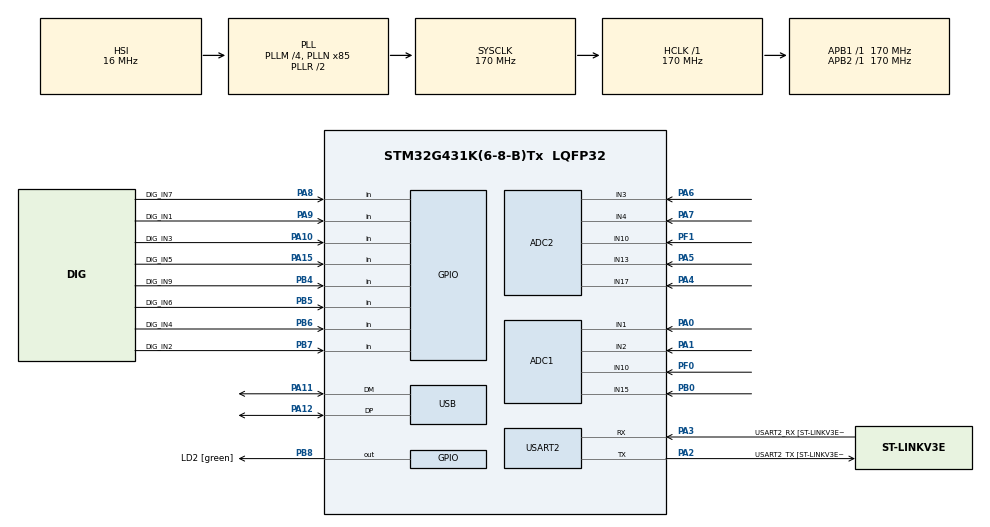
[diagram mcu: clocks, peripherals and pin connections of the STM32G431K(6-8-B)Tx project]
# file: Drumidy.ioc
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ADC1.Channel-0\#ChannelRegularConversion=ADC_CHANNEL_1
ADC1.Channel-1\#ChannelRegularConversion=ADC_CHANNEL_2
ADC1.Channel-2\#ChannelRegularConversion=ADC_CHANNEL_10
ADC1.Channel-3\#ChannelRegularConversion=ADC_CHANNEL_15
ADC1.Channel-4\#ChannelRegularConversion=ADC_CHANNEL_TEMPSENSOR_ADC1
ADC1.ContinuousConvMode=DISABLE
ADC1.DMAAccessModeView=ENABLE
ADC1.DMAContinuousRequests=DISABLE
ADC1.EOCSelection=ADC_EOC_SEQ_CONV
ADC1.Mode=ADC_DUALMODE_REGSIMULT
ADC1.NbrOfConversion=5
ADC1.NbrOfConversionFlag=1
ADC1.OffsetNumber-0\#ChannelRegularConversion=ADC_OFFSET_NONE
ADC1.OffsetNumber-1\#ChannelRegularConversion=ADC_OFFSET_NONE
ADC1.OffsetNumber-2\#ChannelRegularConversion=ADC_OFFSET_NONE
ADC1.OffsetNumber-3\#ChannelRegularConversion=ADC_OFFSET_NONE
ADC1.OffsetNumber-4\#ChannelRegularConversion=ADC_OFFSET_NONE
ADC1.Overrun=ADC_OVR_DATA_OVERWRITTEN
ADC1.Rank-0\#ChannelRegularConversion=1
ADC1.Rank-1\#ChannelRegularConversion=2
ADC1.Rank-2\#ChannelRegularConversion=3
ADC1.Rank-3\#ChannelRegularConversion=4
ADC1.Rank-4\#ChannelRegularConversion=5
ADC1.SamplingTime-0\#ChannelRegularConversion=ADC_SAMPLETIME_6CYCLES_5
ADC1.SamplingTime-1\#ChannelRegularConversion=ADC_SAMPLETIME_6CYCLES_5
ADC1.SamplingTime-2\#ChannelRegularConversion=ADC_SAMPLETIME_6CYCLES_5
ADC1.SamplingTime-3\#ChannelRegularConversion=ADC_SAMPLETIME_6CYCLES_5
ADC1.SamplingTime-4\#ChannelRegularConversion=ADC_SAMPLETIME_6CYCLES_5
ADC1.TwoSamplingDelay=ADC_TWOSAMPLINGDELAY_2CYCLES
ADC1.master=1
ADC2.Channel-0\#ChannelRegularConversion=ADC_CHANNEL_3
ADC2.Channel-1\#ChannelRegularConversion=ADC_CHANNEL_4
ADC2.Channel-2\#ChannelRegularConversion=ADC_CHANNEL_10
ADC2.Channel-3\#ChannelRegularConversion=ADC_CHANNEL_13
ADC2.Channel-4\#ChannelRegularConversion=ADC_CHANNEL_17
ADC2.DMAAccessModeView=ENABLE
ADC2.EOCSelection=ADC_EOC_SEQ_CONV
ADC2.Mode=ADC_DUALMODE_REGSIMULT
ADC2.NbrOfConversion=5
ADC2.NbrOfConversionFlag=1
ADC2.OffsetNumber-0\#ChannelRegularConversion=ADC_OFFSET_NONE
ADC2.OffsetNumber-1\#ChannelRegularConversion=ADC_OFFSET_NONE
ADC2.OffsetNumber-2\#ChannelRegularConversion=ADC_OFFSET_NONE
ADC2.OffsetNumber-3\#ChannelRegularConversion=ADC_OFFSET_NONE
ADC2.OffsetNumber-4\#ChannelRegularConversion=ADC_OFFSET_NONE
ADC2.Overrun=ADC_OVR_DATA_OVERWRITTEN
ADC2.Rank-0\#ChannelRegularConversion=1
ADC2.Rank-1\#ChannelRegularConversion=2
ADC2.Rank-2\#ChannelRegularConversion=3
ADC2.Rank-3\#ChannelRegularConversion=4
ADC2.Rank-4\#ChannelRegularConversion=5
ADC2.SamplingTime-0\#ChannelRegularConversion=ADC_SAMPLETIME_6CYCLES_5
ADC2.SamplingTime-1\#ChannelRegularConversion=ADC_SAMPLETIME_6CYCLES_5
ADC2.SamplingTime-2\#ChannelRegularConversion=ADC_SAMPLETIME_6CYCLES_5
ADC2.SamplingTime-3\#ChannelRegularConversion=ADC_SAMPLETIME_6CYCLES_5
ADC2.SamplingTime-4\#ChannelRegularConversion=ADC_SAMPLETIME_6CYCLES_5
ADC2.TwoSamplingDelay=ADC_TWOSAMPLINGDELAY_2CYCLES
Dma.ADC1.0.Direction=DMA_PERIPH_TO_MEMORY
Dma.ADC1.0.EventEnable=DISABLE
Dma.ADC1.0.Instance=DMA1_Channel1
Dma.ADC1.0.MemDataAlignment=DMA_MDATAALIGN_WORD
Dma.ADC1.0.MemInc=DMA_MINC_ENABLE
Dma.ADC1.0.Mode=DMA_NORMAL
Dma.ADC1.0.PeriphDataAlignment=DMA_PDATAALIGN_WORD
Dma.ADC1.0.PeriphInc=DMA_PINC_DISABLE
Dma.ADC1.0.Polarity=HAL_DMAMUX_REQ_GEN_RISING
Dma.ADC1.0.Priority=DMA_PRIORITY_LOW
Dma.ADC1.0.RequestNumber=1
Dma.ADC1.0.SignalID=NONE
Dma.ADC1.0.SyncEnable=DISABLE
Dma.ADC1.0.SyncPolarity=HAL_DMAMUX_SYNC_NO_EVENT
Dma.ADC1.0.SyncRequestNumber=1
Dma.ADC1.0.SyncSignalID=NONE
Dma.Request0=ADC1
Mcu.Family=STM32G4
Mcu.Name=STM32G431K(6-8-B)Tx
Mcu.Package=LQFP32
NVIC.ADC1_2_IRQn=true\:0\:0\:false\:false\:true\:true\:true
NVIC.DMA1_Channel1_IRQn=true\:0\:0\:false\:false\:true\:false\:true
NVIC.PriorityGroup=NVIC_PRIORITYGROUP_4
NVIC.TIM2_IRQn=true\:0\:0\:false\:false\:true\:true\:true
NVIC.TIM4_IRQn=true\:0\:0\:false\:false\:true\:true\:true
NVIC.USART2_IRQn=true\:0\:0\:false\:false\:true\:true\:true
NVIC.USB_LP_IRQn=true\:0\:0\:false\:false\:true\:false\:true
PA0.Mode=IN1-Single-Ended
PA0.Signal=ADC1_IN1
PA1.Mode=IN2-Single-Ended
PA1.Signal=ADC1_IN2
PA10.GPIO_Label=DIG_IN3
PA10.Signal=GPIO_Input
PA11.Mode=Device
PA11.Signal=USB_DM
PA12.Mode=Device
PA12.Signal=USB_DP
PA13.GPIO_Label=T_SWDIO
PA13.Mode=Serial_Wire
PA13.Signal=SYS_JTMS-SWDIO
PA14.GPIO_Label=T_SWCLK
PA14.Mode=Serial_Wire
PA14.Signal=SYS_JTCK-SWCLK
PA15.GPIO_Label=DIG_IN5
PA15.Signal=GPIO_Input
PA2.GPIO_Label=USART2_TX [ST-LINKV3E_VCP_RX]
PA2.Mode=Asynchronous
PA2.Signal=USART2_TX
PA3.GPIO_Label=USART2_RX [ST-LINKV3E_VCP_TX]
PA3.Mode=Asynchronous
PA3.Signal=USART2_RX
PA4.Mode=IN17-Single-Ended
PA4.Signal=ADC2_IN17
PA5.Mode=IN13-Single-Ended
PA5.Signal=ADC2_IN13
PA6.Mode=IN3-Single-Ended
PA6.Signal=ADC2_IN3
PA7.Mode=IN4-Single-Ended
PA7.Signal=ADC2_IN4
PA8.GPIO_Label=DIG_IN7
PA8.Signal=GPIO_Input
PA9.GPIO_Label=DIG_IN1
PA9.Signal=GPIO_Input
PB0.Mode=IN15-Single-Ended
PB0.Signal=ADC1_IN15
PB3.GPIO_Label=T_SWO
PB3.Signal=SYS_JTDO-SWO
PB4.GPIO_Label=DIG_IN9
PB4.Signal=GPIO_Input
PB5.GPIO_Label=DIG_IN6
PB5.Signal=GPIO_Input
PB6.GPIO_Label=DIG_IN4
PB6.Signal=GPIO_Input
PB7.GPIO_Label=DIG_IN2
PB7.Signal=GPIO_Input
PB8-BOOT0.GPIO_Label=LD2 [green]
PB8-BOOT0.Signal=GPIO_Output
PF0-OSC_IN.Mode=IN10-Single-Ended
PF0-OSC_IN.Signal=ADC1_IN10
PF1-OSC_OUT.Mode=IN10-Single-Ended
PF1-OSC_OUT.Signal=ADC2_IN10
ProjectManager.HeapSize=0x200
ProjectManager.StackSize=0x400
ProjectManager.TargetToolchain=STM32CubeIDE
RCC.ADC12Freq_Value=170000000
RCC.AHBFreq_Value=170000000
RCC.APB1Freq_Value=170000000
RCC.APB1TimFreq_Value=170000000
RCC.APB2Freq_Value=170000000
RCC.APB2TimFreq_Value=170000000
RCC.CK48CLockSelection=RCC_USBCLKSOURCE_HSI48
RCC.CortexFreq_Value=170000000
RCC.EXTERNAL_CLOCK_VALUE=12288000
RCC.HCLKFreq_Value=170000000
RCC.HSE_VALUE=8000000
RCC.HSI48_VALUE=48000000
RCC.HSI_VALUE=16000000
RCC.LSE_VALUE=32768
RCC.PLLM=RCC_PLLM_DIV4
RCC.PLLN=85
RCC.SYSCLKFreq_VALUE=170000000
RCC.SYSCLKSource=RCC_SYSCLKSOURCE_PLLCLK
RCC.USBFreq_Value=48000000
RCC.VCOOutputFreq_Value=340000000
TIM2.AutoReloadPreload=TIM_AUTORELOAD_PRELOAD_ENABLE
TIM2.PeriodNoDither=51000000
TIM4.AutoReloadPreload=TIM_AUTORELOAD_PRELOAD_ENABLE
TIM4.ClockDivision=TIM_CLOCKDIVISION_DIV1
TIM4.PeriodNoDither=17000
TIM6.Prescaler=170
USART2.VirtualMode-Asynchronous=VM_ASYNC
USART2.WordLength=WORDLENGTH_8B
USB_DEVICE.CLASS_NAME_FS=CDC
USB_DEVICE.CONFIGURATION_STRING_CDC_FS=Midi Config
USB_DEVICE.INTERFACE_STRING_CDC_FS=Midi Interface
USB_DEVICE.PRODUCT_STRING_CDC_FS=Drumidy v1
USB_DEVICE.VirtualMode=Cdc
USB_DEVICE.VirtualModeFS=Cdc_FS
VP_ADC1_TempSens_Input.Mode=IN-TempSens
VP_SYS_VS_DBSignals.Mode=DisableDeadBatterySignals
VP_TIM2_VS_ClockSourceINT.Mode=Internal
VP_TIM4_VS_ClockSourceINT.Mode=Internal
VP_TIM6_VS_ClockSourceINT.Mode=Enable_Timer
VP_USB_DEVICE_VS_USB_DEVICE_CDC_FS.Mode=CDC_FS
board=NUCLEO-G431KB

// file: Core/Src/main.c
/* USER CODE BEGIN Header */
/**
  ******************************************************************************
  * @file           : main.c
  * @brief          : Main program body
  ******************************************************************************
  * @attention
  *
  * <h2><center>&copy; Copyright (c) 2020 STMicroelectronics.
  * All rights reserved.</center></h2>
  *
  * This software component is licensed by ST under BSD 3-Clause license,
  * the "License"; You may not use this file except in compliance with the
  * License. You may obtain a copy of the License at:
  *                        opensource.org/licenses/BSD-3-Clause
  *
  ******************************************************************************
  */
/* USER CODE END Header */
#include "main.h"
#include "usb_device.h"

/* USER CODE BEGIN Includes */

#include <string.h>
#include <stdio.h>
#include <usbd_cdc.h>
//#include "midi.h"
#include "drumidy.h"

/* USER CODE END Includes */

/* USER CODE BEGIN PTD */
#define OFF_DELAY_MS 200
#define TAB 0x09
#define FLASH_USER_START_ADDR 	0x0801F800 		//0x0801 F800

#define USE_COM 	1
const volatile uint32_t *userConfig=(const volatile uint32_t *)FLASH_USER_START_ADDR;

uint8_t ASCIILOGO[] = "\n"\
"  ___                 _    _\n"\
" |   \\ _ _ _  _ _ __ (_)__| |_  _ \n"\
" | |) | '_| || | '  \\| / _` | || |\n"\
" |___/|_|  \\_,_|_|_|_|_\\__,_|\\_, |\n"\
"     .-.,     ,--. ,--.      |__/ \n"\
"    `/|~\\     \\__/T`--'     . \n"\
"    x |`' __   ,-~^~-.___ ==I== \n"\
"      |  |--| /       \\__}  | \n"\
"      |  |  |{   /~\\   }    | \n"\
"     /|\\ \\__/ \\  \\_/  /|   /|\\ \n"\
"    / | \\|  | /`~-_-~'X.\\ //| \\ \n\n"\
"= Send any char for configuration =\n";

/* USER CODE END PTD */

/* USER CODE BEGIN PD */
DRUM channel[9];	// array of drums

int cnt;

// ADC buffers0
uint32_t adc_buf[5];
// channel values
uint16_t adc_val[10];

GPIO_PinState aux_current_state[10];

uint32_t saved_config[64];

char buffer_out[1000];			// USB Buffers
uint8_t buffer_in[64];
//char buffer_ret[16];

// MIDI operation
uint8_t upd_active_sens = 0;	//flag for active sense, triggered every 300ms
uint8_t config_Mode[1] = {0};		// flag for activating config over serial
uint32_t custom_timer = 0;

/* USER CODE END PD */

ADC_HandleTypeDef hadc1;
ADC_HandleTypeDef hadc2;
DMA_HandleTypeDef hdma_adc1;

TIM_HandleTypeDef htim2;
TIM_HandleTypeDef htim4;
TIM_HandleTypeDef htim6;

UART_HandleTypeDef huart2;

void SystemClock_Config(void);
static void MX_GPIO_Init(void);
static void MX_DMA_Init(void);
static void MX_USART2_UART_Init(void);
static void MX_ADC1_Init(void);
static void MX_TIM4_Init(void);
static void MX_TIM2_Init(void);
static void MX_ADC2_Init(void);
static void MX_TIM6_Init(void);
/* USER CODE BEGIN PFP */
uint8_t CDC_Transmit_FS(uint8_t* Buf, uint16_t Len);
uint8_t CDC_Receive_FS(uint8_t* Buf, uint16_t Len);

//static void tx_com( uint8_t *_buffer, uint16_t len );

void getAuxState(GPIO_PinState *_state);

void sendMidiAS  ();
//void sendMidiGEN (uint8_t note, uint8_t vel);
void sendMidi    (uint8_t note, uint8_t vel);
void sendMidiGEN (uint8_t note, uint8_t vel);
void sendMidiAT  (uint8_t note, uint8_t vel);
void sendMidiOFF (uint8_t note);
void sendMidi2   (uint8_t note1, uint8_t vel1,uint8_t note2, uint8_t vel2);

void sendMidiHHPedalOn();
void sendMidiHHPedalOff();

void tx_midi  (uint8_t *_buffer, uint16_t len);
void sendDebug (uint8_t _ch, uint8_t _aux);
uint8_t Save_Setting(uint8_t _rst);
uint8_t Load_Setting();
int get_num_from_uart(uint8_t _len);
uint8_t UART_CFG();
//static void tx_usb( uint8_t *_buffer, uint16_t len );

//static void tx_midi( uint8_t _note, uint8_t _velocity, uint8_t _volume);

uint32_t dataReceivedSize = 0;
volatile char flag_New_Settings;
/* USER CODE END PFP */

/* USER CODE BEGIN 0 */

void New_USB_Settings(uint8_t* _buf, uint16_t _len){

	for(int i = 0; i < 64; i++)
		if (i < _len)
			buffer_in[i] = _buf[i];
		else
			buffer_in[i] = 0;

	flag_New_Settings = 1;
	dataReceivedSize = _len;
}

void HAL_TIM_PeriodElapsedCallback(TIM_HandleTypeDef *htim)
{

	// 10kHz trigger, 0.1ms
	if (htim->Instance==htim4.Instance)
      {
		HAL_ADCEx_MultiModeStart_DMA(&hadc1,  (uint32_t *) adc_buf, 5);//
		cnt++;
      }

	// 3.33Hz active sensing, 300ms
	if (htim->Instance==htim2.Instance)
      {
		upd_active_sens = 1;
      }
}

void HAL_UART_RxCpltCallback(UART_HandleTypeDef *huart){
	if (huart->Instance == huart2.Instance){
		buffer_in[15] = 1;
//		config_Mode = 1;
//		HAL_UART_Receive_IT (&huart2, &config_Mode, 1);
	}

}

void HAL_ADC_ConvCpltCallback(ADC_HandleTypeDef* hadc)
{
	if (hadc->Instance==hadc1.Instance)	{
//		uint8_t ch;
		//get all adc values from common array
//		for (ch = 0; ch < 5;ch++) {
//			adc_val[ch] = adc_buf[ch] >> 16;     // store the values in adc_val from buffer
//			adc_val[ch+5 ] = adc_buf[ch] & 0xFFFF;  // store the values in adc_val from buffer
//		}

		// resulting order: 5x[ADC2] + 4x{ADC1} + 1xDummy
		// [PA6] - [PA7] - [PF1] - [PA5] - [PA4] - {PA0} - {PA1} - {PF0} - {PB0} - {XX X}
		//	2		0		4		5		6		9		7		3		1
		adc_val[0] = adc_buf[1] >> 16;
		adc_val[1] = adc_buf[3] & 0xFFFF;
		adc_val[2] = adc_buf[0] >> 16;
		adc_val[3] = adc_buf[2] & 0xFFFF;
		adc_val[4] = adc_buf[2] >> 16;
		adc_val[5] = adc_buf[3] >> 16;
		adc_val[6] = adc_buf[4] >> 16;
		adc_val[7] = adc_buf[1] & 0xFFFF;
		adc_val[8] = adc_buf[0] & 0xFFFF;

		getAuxState(aux_current_state);

		STEP_TIME = HAL_GetTick();

		Update_channel(&channel[0], adc_val[0], aux_current_state[0]);
		Update_channel(&channel[1], adc_val[1], aux_current_state[1]);
		Update_channel(&channel[2], adc_val[2], aux_current_state[2]);
		Update_channel(&channel[3], adc_val[3], aux_current_state[3]);
		Update_channel(&channel[4], adc_val[4], aux_current_state[4]);
		Update_channel(&channel[5], adc_val[5], aux_current_state[5]);
		Update_channel(&channel[6], adc_val[6], aux_current_state[6]);
		Update_channel(&channel[7], adc_val[7], aux_current_state[7]);
		Update_channel(&channel[8], adc_val[8], aux_current_state[8]);

	}// end adc1
}

/* USER CODE END 0 */

int main(void)
{
  /* USER CODE BEGIN 1 */
	int vol;
  /* USER CODE END 1 */

  /* MCU Configuration--------------------------------------------------------*/

  /* Reset of all peripherals, Initializes the Flash interface and the Systick. */
  HAL_Init();

  /* USER CODE BEGIN Init */
  HAL_Delay(1000);

  /* USER CODE END Init */

  /* Configure the system clock */
  SystemClock_Config();

  /* Initialize all configured peripherals */
  MX_GPIO_Init();
  MX_DMA_Init();
  MX_USART2_UART_Init();
  MX_ADC1_Init();
  MX_TIM4_Init();
  MX_TIM2_Init();
  MX_ADC2_Init();
  MX_USB_Device_Init();
  MX_TIM6_Init();
  /* USER CODE BEGIN 2 */

  HAL_ADC_Start (&hadc1);
  HAL_ADC_Start (&hadc2);
  HAL_Delay(200);

  /// **************************
  /// ******* Defaul CFG *******
  /// **************************
  getAuxState(aux_current_state);

  initDrum(&channel[0], HHOPEN, HHPEDAL	, CYMBAL_HIHAT	, aux_current_state[0]);
  	  channel[0].alt_voice = HHCLOSE;

  // KICK - MESH+PEDAL - OK
  initDrum(&channel[1], KICK  , KICK	, MESH_PAD_AUTOAUX		, aux_current_state[1]);
  	  channel[1].peak_volume_norm = 20;
  	  channel[1].peak_min_length = 3;

  // KICK - MESH/ALT+PEDAL - OK
  initDrum(&channel[2], SNARE , KICK 	, MESH_RIM_AUTOAUX		, aux_current_state[2]);
	  channel[2].alt_voice = SNRIM;

  initDrum(&channel[3], SNARE , KICK 	, MESH_RIM_AUTOAUX		, aux_current_state[3]);
	  channel[3].alt_voice = 0x40;

  initDrum(&channel[4], TOM1 , TOM1  	, MESH_PAD_AUTOAUX		, aux_current_state[3]);
  initDrum(&channel[5], TOM2 , TOM2  	, MESH_PAD_AUTOAUX		, aux_current_state[4]);
  initDrum(&channel[6], TOMF , TOMF  	, MESH_PAD_AUTOAUX		, aux_current_state[6]);

  // cymbals
  initDrum(&channel[7], CRASH, CRASH 	, CYMBAL_MUTE			, aux_current_state[7]);	// CH7 aux disabled
  initDrum(&channel[8], RIDE ,  BELL 	, CYMBAL_2_ZONE			, aux_current_state[8]);

  // === Previous Settings ===
  HAL_UART_Transmit(&huart2, ASCIILOGO, strlen((char *)ASCIILOGO) , 50);
  HAL_Delay(500);

  Load_Setting();

	// start waiting for serial commands
	HAL_Delay(200);
	config_Mode[0] = 0;
	HAL_UART_Receive_IT (&huart2, &config_Mode[0], 1);

	/// **************************
	/// ******* LETS ROCK! *******
	/// **************************
	HAL_TIM_Base_Start_IT(&htim2); //AS
	HAL_TIM_Base_Start_IT(&htim4); //ADC
//	HAL_TIM_Base_Start_IT(&htim6);

  /* USER CODE END 2 */

  /* Infinite loop */
  /* USER CODE BEGIN WHILE */

  while (1)
  {
	  while (config_Mode[0]){

		uint8_t rs = UART_CFG();

		if ((rs == 1) || (rs == 2)){
			rs = Save_Setting(0);
			sprintf(buffer_out, "New configuration saved (%X)\n", rs);
			HAL_UART_Transmit(&huart2,(uint8_t *)buffer_out, strlen((char const*)buffer_out) , 50);
		}
		if (rs == 99){
			rs = Save_Setting(1);
			sprintf(buffer_out, "Reset to default values, restart the device (%X)\n", rs);
			HAL_UART_Transmit(&huart2,(uint8_t *)buffer_out, strlen((char const*)buffer_out) , 50);
		}
		config_Mode[0] = 0;
		HAL_UART_Receive_IT (&huart2, &config_Mode[0], 1);

	  }

	  if (upd_active_sens){
		  upd_active_sens = 0;
		  sendMidiAS();
	  }

	  for (uint8_t ch = 0; ch<9; ch++){

		  if (channel[ch].main_rdy){
			  channel[ch].main_rdy = 0;

			  // custom volume calculation for mesh
			  if (channel[ch].chnl_type < 2){
				  vol = (int)(100.* (float)(channel[ch].main_rdy_height - PEAK_THRESHOLD) / 4096. * 100. / (float)channel[ch].peak_volume_norm);
				  if ((channel[ch].chnl_type == MESH_RIM_AUTOAUX)&&(channel[ch].main_rdy_usealt))
					  vol = vol*4;
			  } else {
				  //volume for cymbals
				  vol = (int)(100.* (float)(channel[ch].main_rdy_height - PEAK_THRESHOLD) / 4096. * 100. / (float)channel[ch].peak_volume_norm * 2);
			  }

			  if (vol > 127) vol = 127;
			  if (vol < 1  ) vol = 1;
			  channel[ch].main_rdy_volume = (uint8_t) vol;

			  uint8_t vc;
			  if (channel[ch].main_rdy_usealt)
				  vc = channel[ch].alt_voice;	//				  sendMidiGEN(channel[ch].alt_voice ,channel[ch].main_rdy_volume);
			  else
				  vc = channel[ch].main_voice;	//				  sendMidiGEN(channel[ch].main_voice,channel[ch].main_rdy_volume);

			  sendMidi(vc,channel[ch].main_rdy_volume);
			  channel[ch].main_last_on_voice 	= vc;
			  channel[ch].main_last_on_time 	= HAL_GetTick();

  			  sendDebug(ch,0);

		  }

		  if (channel[ch].aux_rdy){
			  channel[ch].aux_rdy = 0;
			  sendDebug(ch,1);

			  switch (channel[ch].chnl_type ){
			  case CYMBAL_HIHAT:
				  if (channel[ch].aux_rdy_state == CHANNEL_PEDAL_PRESSED)
					 sendMidiHHPedalOn();
//				  else
//					  sendMidiGEN(channel[ch].main_voice, 5);
				  break;

			  case CYMBAL_MUTE:
				  if (channel[ch].aux_rdy_state == CHANNEL_PEDAL_PRESSED)
					  sendMidi2(channel[ch].main_voice, 1, channel[ch].main_voice, 0);
				  break;

			  case CYMBAL_2_ZONE:
				  sendMidi2(channel[ch].main_voice, 1, channel[ch].main_voice, 0);
				  break;

			  // INDEPENDENT AUX INPUTS
			  default:
				  if (channel[ch].aux_type == AUX_TYPE_PAD)
					  sendMidi2(channel[ch].aux_voice,100, channel[ch].aux_voice,0);
				  else { //PEDAL
					  // PEDAL pressed
					  if (channel[ch].aux_rdy_state == CHANNEL_PEDAL_PRESSED)
						  sendMidi2(channel[ch].aux_voice,100, channel[ch].aux_voice,0);
					  // PEDAL RELEASED... IN CASE
//					  else
//						  sendMidi2(channel[ch].aux_voice, 1, channel[ch].aux_voice,0);
				  }
			  }

		  }
		  // send off command if needed
		  if (channel[ch].main_last_on_voice > 0){
			  if ( HAL_GetTick() > (channel[ch].main_last_on_time + OFF_DELAY_MS) ){
				  sendMidi(channel[ch].main_last_on_voice,0);
				  channel[ch].main_last_on_voice = 0;
			  }

		  }

	  }
    /* USER CODE END WHILE */

  }
}

void SystemClock_Config(void)
{
  RCC_OscInitTypeDef RCC_OscInitStruct = {0};
  RCC_ClkInitTypeDef RCC_ClkInitStruct = {0};

  /** Configure the main internal regulator output voltage
  */
  HAL_PWREx_ControlVoltageScaling(PWR_REGULATOR_VOLTAGE_SCALE1_BOOST);
  /** Initializes the RCC Oscillators according to the specified parameters
  * in the RCC_OscInitTypeDef structure.
  */
  RCC_OscInitStruct.OscillatorType = RCC_OSCILLATORTYPE_HSI|RCC_OSCILLATORTYPE_HSI48;
  RCC_OscInitStruct.HSIState = RCC_HSI_ON;
  RCC_OscInitStruct.HSICalibrationValue = RCC_HSICALIBRATION_DEFAULT;
  RCC_OscInitStruct.HSI48State = RCC_HSI48_ON;
  RCC_OscInitStruct.PLL.PLLState = RCC_PLL_ON;
  RCC_OscInitStruct.PLL.PLLSource = RCC_PLLSOURCE_HSI;
  RCC_OscInitStruct.PLL.PLLM = RCC_PLLM_DIV4;
  RCC_OscInitStruct.PLL.PLLN = 85;
  RCC_OscInitStruct.PLL.PLLP = RCC_PLLP_DIV2;
  RCC_OscInitStruct.PLL.PLLQ = RCC_PLLQ_DIV2;
  RCC_OscInitStruct.PLL.PLLR = RCC_PLLR_DIV2;
  if (HAL_RCC_OscConfig(&RCC_OscInitStruct) != HAL_OK)
  {
    Error_Handler();
  }
  /** Initializes the CPU, AHB and APB buses clocks
  */
  RCC_ClkInitStruct.ClockType = RCC_CLOCKTYPE_HCLK|RCC_CLOCKTYPE_SYSCLK
                              |RCC_CLOCKTYPE_PCLK1|RCC_CLOCKTYPE_PCLK2;
  RCC_ClkInitStruct.SYSCLKSource = RCC_SYSCLKSOURCE_PLLCLK;
  RCC_ClkInitStruct.AHBCLKDivider = RCC_SYSCLK_DIV1;
  RCC_ClkInitStruct.APB1CLKDivider = RCC_HCLK_DIV1;
  RCC_ClkInitStruct.APB2CLKDivider = RCC_HCLK_DIV1;

  if (HAL_RCC_ClockConfig(&RCC_ClkInitStruct, FLASH_LATENCY_4) != HAL_OK)
  {
    Error_Handler();
  }
}

static void MX_ADC1_Init(void)
{

  ADC_MultiModeTypeDef multimode = {0};
  ADC_ChannelConfTypeDef sConfig = {0};

  /** Common config
  */
  hadc1.Instance = ADC1;
  hadc1.Init.ClockPrescaler = ADC_CLOCK_SYNC_PCLK_DIV4;
  hadc1.Init.Resolution = ADC_RESOLUTION_12B;
  hadc1.Init.DataAlign = ADC_DATAALIGN_RIGHT;
  hadc1.Init.GainCompensation = 0;
  hadc1.Init.ScanConvMode = ADC_SCAN_ENABLE;
  hadc1.Init.EOCSelection = ADC_EOC_SEQ_CONV;
  hadc1.Init.LowPowerAutoWait = DISABLE;
  hadc1.Init.ContinuousConvMode = DISABLE;
  hadc1.Init.NbrOfConversion = 5;
  hadc1.Init.DiscontinuousConvMode = DISABLE;
  hadc1.Init.ExternalTrigConv = ADC_SOFTWARE_START;
  hadc1.Init.ExternalTrigConvEdge = ADC_EXTERNALTRIGCONVEDGE_NONE;
  hadc1.Init.DMAContinuousRequests = DISABLE;
  hadc1.Init.Overrun = ADC_OVR_DATA_OVERWRITTEN;
  hadc1.Init.OversamplingMode = DISABLE;
  if (HAL_ADC_Init(&hadc1) != HAL_OK)
  {
    Error_Handler();
  }
  /** Configure the ADC multi-mode
  */
  multimode.Mode = ADC_DUALMODE_REGSIMULT;
  multimode.DMAAccessMode = ADC_DMAACCESSMODE_12_10_BITS;
  multimode.TwoSamplingDelay = ADC_TWOSAMPLINGDELAY_2CYCLES;
  if (HAL_ADCEx_MultiModeConfigChannel(&hadc1, &multimode) != HAL_OK)
  {
    Error_Handler();
  }
  /** Configure Regular Channel
  */
  sConfig.Channel = ADC_CHANNEL_1;
  sConfig.Rank = ADC_REGULAR_RANK_1;
  sConfig.SamplingTime = ADC_SAMPLETIME_6CYCLES_5;
  sConfig.SingleDiff = ADC_SINGLE_ENDED;
  sConfig.OffsetNumber = ADC_OFFSET_NONE;
  sConfig.Offset = 0;
  if (HAL_ADC_ConfigChannel(&hadc1, &sConfig) != HAL_OK)
  {
    Error_Handler();
  }
  /** Configure Regular Channel
  */
  sConfig.Channel = ADC_CHANNEL_2;
  sConfig.Rank = ADC_REGULAR_RANK_2;
  if (HAL_ADC_ConfigChannel(&hadc1, &sConfig) != HAL_OK)
  {
    Error_Handler();
  }
  /** Configure Regular Channel
  */
  sConfig.Channel = ADC_CHANNEL_10;
  sConfig.Rank = ADC_REGULAR_RANK_3;
  if (HAL_ADC_ConfigChannel(&hadc1, &sConfig) != HAL_OK)
  {
    Error_Handler();
  }
  /** Configure Regular Channel
  */
  sConfig.Channel = ADC_CHANNEL_15;
  sConfig.Rank = ADC_REGULAR_RANK_4;
  if (HAL_ADC_ConfigChannel(&hadc1, &sConfig) != HAL_OK)
  {
    Error_Handler();
  }
  /** Configure Regular Channel
  */
  sConfig.Channel = ADC_CHANNEL_TEMPSENSOR_ADC1;
  sConfig.Rank = ADC_REGULAR_RANK_5;
  if (HAL_ADC_ConfigChannel(&hadc1, &sConfig) != HAL_OK)
  {
    Error_Handler();
  }

}

static void MX_ADC2_Init(void)
{

  ADC_ChannelConfTypeDef sConfig = {0};

  /** Common config
  */
  hadc2.Instance = ADC2;
  hadc2.Init.ClockPrescaler = ADC_CLOCK_SYNC_PCLK_DIV4;
  hadc2.Init.Resolution = ADC_RESOLUTION_12B;
  hadc2.Init.DataAlign = ADC_DATAALIGN_RIGHT;
  hadc2.Init.GainCompensation = 0;
  hadc2.Init.ScanConvMode = ADC_SCAN_ENABLE;
  hadc2.Init.EOCSelection = ADC_EOC_SEQ_CONV;
  hadc2.Init.LowPowerAutoWait = DISABLE;
  hadc2.Init.ContinuousConvMode = DISABLE;
  hadc2.Init.NbrOfConversion = 5;
  hadc2.Init.DiscontinuousConvMode = DISABLE;
  hadc2.Init.DMAContinuousRequests = DISABLE;
  hadc2.Init.Overrun = ADC_OVR_DATA_OVERWRITTEN;
  hadc2.Init.OversamplingMode = DISABLE;
  if (HAL_ADC_Init(&hadc2) != HAL_OK)
  {
    Error_Handler();
  }
  /** Configure Regular Channel
  */
  sConfig.Channel = ADC_CHANNEL_3;
  sConfig.Rank = ADC_REGULAR_RANK_1;
  sConfig.SamplingTime = ADC_SAMPLETIME_6CYCLES_5;
  sConfig.SingleDiff = ADC_SINGLE_ENDED;
  sConfig.OffsetNumber = ADC_OFFSET_NONE;
  sConfig.Offset = 0;
  if (HAL_ADC_ConfigChannel(&hadc2, &sConfig) != HAL_OK)
  {
    Error_Handler();
  }
  /** Configure Regular Channel
  */
  sConfig.Channel = ADC_CHANNEL_4;
  sConfig.Rank = ADC_REGULAR_RANK_2;
  if (HAL_ADC_ConfigChannel(&hadc2, &sConfig) != HAL_OK)
  {
    Error_Handler();
  }
  /** Configure Regular Channel
  */
  sConfig.Channel = ADC_CHANNEL_10;
  sConfig.Rank = ADC_REGULAR_RANK_3;
  if (HAL_ADC_ConfigChannel(&hadc2, &sConfig) != HAL_OK)
  {
    Error_Handler();
  }
  /** Configure Regular Channel
  */
  sConfig.Channel = ADC_CHANNEL_13;
  sConfig.Rank = ADC_REGULAR_RANK_4;
  if (HAL_ADC_ConfigChannel(&hadc2, &sConfig) != HAL_OK)
  {
    Error_Handler();
  }
  /** Configure Regular Channel
  */
  sConfig.Channel = ADC_CHANNEL_17;
  sConfig.Rank = ADC_REGULAR_RANK_5;
  if (HAL_ADC_ConfigChannel(&hadc2, &sConfig) != HAL_OK)
  {
    Error_Handler();
  }

}

static void MX_TIM2_Init(void)
{

  TIM_ClockConfigTypeDef sClockSourceConfig = {0};
  TIM_MasterConfigTypeDef sMasterConfig = {0};

  htim2.Instance = TIM2;
  htim2.Init.Prescaler = 0;
  htim2.Init.CounterMode = TIM_COUNTERMODE_UP;
  htim2.Init.Period = 5.1E7;
  htim2.Init.ClockDivision = TIM_CLOCKDIVISION_DIV1;
  htim2.Init.AutoReloadPreload = TIM_AUTORELOAD_PRELOAD_ENABLE;
  if (HAL_TIM_Base_Init(&htim2) != HAL_OK)
  {
    Error_Handler();
  }
  sClockSourceConfig.ClockSource = TIM_CLOCKSOURCE_INTERNAL;
  if (HAL_TIM_ConfigClockSource(&htim2, &sClockSourceConfig) != HAL_OK)
  {
    Error_Handler();
  }
  sMasterConfig.MasterOutputTrigger = TIM_TRGO_RESET;
  sMasterConfig.MasterSlaveMode = TIM_MASTERSLAVEMODE_DISABLE;
  if (HAL_TIMEx_MasterConfigSynchronization(&htim2, &sMasterConfig) != HAL_OK)
  {
    Error_Handler();
  }

}

static void MX_TIM4_Init(void)
{

  TIM_ClockConfigTypeDef sClockSourceConfig = {0};
  TIM_MasterConfigTypeDef sMasterConfig = {0};

  htim4.Instance = TIM4;
  htim4.Init.Prescaler = 0;
  htim4.Init.CounterMode = TIM_COUNTERMODE_UP;
  htim4.Init.Period = 17000;
  htim4.Init.ClockDivision = TIM_CLOCKDIVISION_DIV1;
  htim4.Init.AutoReloadPreload = TIM_AUTORELOAD_PRELOAD_ENABLE;
  if (HAL_TIM_Base_Init(&htim4) != HAL_OK)
  {
    Error_Handler();
  }
  sClockSourceConfig.ClockSource = TIM_CLOCKSOURCE_INTERNAL;
  if (HAL_TIM_ConfigClockSource(&htim4, &sClockSourceConfig) != HAL_OK)
  {
    Error_Handler();
  }
  sMasterConfig.MasterOutputTrigger = TIM_TRGO_RESET;
  sMasterConfig.MasterSlaveMode = TIM_MASTERSLAVEMODE_DISABLE;
  if (HAL_TIMEx_MasterConfigSynchronization(&htim4, &sMasterConfig) != HAL_OK)
  {
    Error_Handler();
  }

}

static void MX_TIM6_Init(void)
{

  TIM_MasterConfigTypeDef sMasterConfig = {0};

  htim6.Instance = TIM6;
  htim6.Init.Prescaler = 170;
  htim6.Init.CounterMode = TIM_COUNTERMODE_UP;
  htim6.Init.Period = 65535;
  htim6.Init.AutoReloadPreload = TIM_AUTORELOAD_PRELOAD_DISABLE;
  if (HAL_TIM_Base_Init(&htim6) != HAL_OK)
  {
    Error_Handler();
  }
  sMasterConfig.MasterOutputTrigger = TIM_TRGO_RESET;
  sMasterConfig.MasterSlaveMode = TIM_MASTERSLAVEMODE_DISABLE;
  if (HAL_TIMEx_MasterConfigSynchronization(&htim6, &sMasterConfig) != HAL_OK)
  {
    Error_Handler();
  }

}

static void MX_USART2_UART_Init(void)
{

  huart2.Instance = USART2;
  huart2.Init.BaudRate = 115200;
  huart2.Init.WordLength = UART_WORDLENGTH_8B;
  huart2.Init.StopBits = UART_STOPBITS_1;
  huart2.Init.Parity = UART_PARITY_NONE;
  huart2.Init.Mode = UART_MODE_TX_RX;
  huart2.Init.HwFlowCtl = UART_HWCONTROL_NONE;
  huart2.Init.OverSampling = UART_OVERSAMPLING_16;
  huart2.Init.OneBitSampling = UART_ONE_BIT_SAMPLE_DISABLE;
  huart2.Init.ClockPrescaler = UART_PRESCALER_DIV1;
  huart2.AdvancedInit.AdvFeatureInit = UART_ADVFEATURE_NO_INIT;
  if (HAL_UART_Init(&huart2) != HAL_OK)
  {
    Error_Handler();
  }
  if (HAL_UARTEx_SetTxFifoThreshold(&huart2, UART_TXFIFO_THRESHOLD_1_8) != HAL_OK)
  {
    Error_Handler();
  }
  if (HAL_UARTEx_SetRxFifoThreshold(&huart2, UART_RXFIFO_THRESHOLD_1_8) != HAL_OK)
  {
    Error_Handler();
  }
  if (HAL_UARTEx_DisableFifoMode(&huart2) != HAL_OK)
  {
    Error_Handler();
  }

}

static void MX_DMA_Init(void)
{

  /* DMA controller clock enable */
  __HAL_RCC_DMAMUX1_CLK_ENABLE();
  __HAL_RCC_DMA1_CLK_ENABLE();

  /* DMA interrupt init */
  /* DMA1_Channel1_IRQn interrupt configuration */
  HAL_NVIC_SetPriority(DMA1_Channel1_IRQn, 0, 0);
  HAL_NVIC_EnableIRQ(DMA1_Channel1_IRQn);

}

static void MX_GPIO_Init(void)
{
  GPIO_InitTypeDef GPIO_InitStruct = {0};

  /* GPIO Ports Clock Enable */
  __HAL_RCC_GPIOF_CLK_ENABLE();
  __HAL_RCC_GPIOA_CLK_ENABLE();
  __HAL_RCC_GPIOB_CLK_ENABLE();

  /*Configure GPIO pin Output Level */
  HAL_GPIO_WritePin(LD2_GPIO_Port, LD2_Pin, GPIO_PIN_RESET);

  /*Configure GPIO pins : DIG_IN7_Pin DIG_IN1_Pin DIG_IN3_Pin DIG_IN5_Pin */
  GPIO_InitStruct.Pin = DIG_IN7_Pin|DIG_IN1_Pin|DIG_IN3_Pin|DIG_IN5_Pin;
  GPIO_InitStruct.Mode = GPIO_MODE_INPUT;
  GPIO_InitStruct.Pull = GPIO_NOPULL;
  HAL_GPIO_Init(GPIOA, &GPIO_InitStruct);

  /*Configure GPIO pins : DIG_IN9_Pin DIG_IN6_Pin DIG_IN4_Pin DIG_IN2_Pin */
  GPIO_InitStruct.Pin = DIG_IN9_Pin|DIG_IN6_Pin|DIG_IN4_Pin|DIG_IN2_Pin;
  GPIO_InitStruct.Mode = GPIO_MODE_INPUT;
  GPIO_InitStruct.Pull = GPIO_NOPULL;
  HAL_GPIO_Init(GPIOB, &GPIO_InitStruct);

  /*Configure GPIO pin : LD2_Pin */
  GPIO_InitStruct.Pin = LD2_Pin;
  GPIO_InitStruct.Mode = GPIO_MODE_OUTPUT_PP;
  GPIO_InitStruct.Pull = GPIO_NOPULL;
  GPIO_InitStruct.Speed = GPIO_SPEED_FREQ_LOW;
  HAL_GPIO_Init(LD2_GPIO_Port, &GPIO_InitStruct);

}

/* USER CODE BEGIN 4 */
/*
 * @brief  Write generic device register (platform dependent)
 *
 * @param  tx_buffer     buffer to trasmit
 * @param  len           number of byte to send
 *
 */

void sendMidiAS(){
  uint8_t bff[4] = {0x0F, 0xFE, 0x00, 0x00};
  tx_midi((uint8_t *)bff,4);
}

// MIDI generic ON/OFF message
void sendMidiGEN(uint8_t note, uint8_t vel){
  uint8_t bff[8] = {TAB,  0x99, 0, 0, TAB,  0x99,0, 0x00};
  bff[2] = 0x7f & note;
  bff[3] = 0x7f & vel;
  bff[6] = 0x7f & note;
  tx_midi((uint8_t *)bff,8);
}

// MIDI generic ON message
void sendMidi(uint8_t note, uint8_t vel){
  uint8_t bff[4] = {TAB,  0x99, 0x00, 0x00};
  bff[2] = 0x7f & note;
  bff[3] = 0x7f & vel;
  tx_midi((uint8_t *)bff,4);
}
// MIDI generic OFF message
void sendMidiOFF(uint8_t note){
  uint8_t bff[4] = {TAB,  0x89, 0x00, 0x00};
  bff[2] = 0x7f & note;
  bff[3] = 0x7f;
  tx_midi((uint8_t *)bff,4);
}

// aftertouch
void sendMidiAT(uint8_t note, uint8_t vel){
  uint8_t bff[4] = {TAB,  0xA9, 0x00, 0x00};
  bff[2] = 0x7f & note;
  bff[3] = 0x7f & vel;
  tx_midi((uint8_t *)bff,4);
}

// MIDI generic ON message
void sendMidi2(uint8_t note1, uint8_t vel1,uint8_t note2, uint8_t vel2){
  uint8_t bff[8] = {TAB,  0x99, 0x00, 0x00, TAB,  0x99, 0x00, 0x00};
  bff[2] = 0x7f & note1;
  bff[3] = 0x7f & vel1;
  bff[2+4] = 0x7f & note2;
  bff[3+4] = 0x7f & vel2;
  tx_midi((uint8_t *)bff,8);
}

// MIDI HiHat pedal press message
void sendMidiHHPedalOn(){
  uint8_t bff[20] = { TAB,  0xA9, HHOPEN , 0x7F, TAB,  0xA9, HHCLOSE, 0x7F, TAB, 0xA9, 0x15, 0x7F,
		  	  	  	  TAB,  0x99, HHPEDAL, 0x64, TAB,  0x99, HHPEDAL, 0x00};
  tx_midi((uint8_t *)bff, 20);
}

// pedal aftertouch for hihat
void sendMidiHHPedalOff(){
  uint8_t bff[4] = { TAB,  0xA9, HHPEDAL , 0x3F};
  tx_midi((uint8_t *)bff,4);
}

//
//static void tx_com(uint8_t *_buffer, uint16_t len)
//{
//  HAL_UART_Transmit(&huart2, _buffer, len, 10);
//
////  HAL_GPIO_TogglePin(LD2_GPIO_Port, LD2_Pin);
//}

void tx_midi(uint8_t *_buffer, uint16_t len)
{
  uint8_t rt = USBD_BUSY;

  while( rt == USBD_BUSY) {
	  rt = CDC_Transmit_FS(_buffer, len);
  };
#if USE_COM
  HAL_UART_Transmit(&huart2,_buffer, len , 5);
#endif

  TIM2->CNT = 0; // restart active sense timer

}

void sendDebug(uint8_t _ch, uint8_t _aux)
{
#if (USE_COM == 0)
	uint8_t voice;
	uint8_t volume;
	uint8_t length;

  if (_aux){
	  voice = channel[_ch].aux_voice;

	  sprintf(buffer_out, ">>>AUX %d: %X %d [%d %d]\n", _ch,
	  			  voice, channel[_ch].aux_rdy_state,
	  			  channel[_ch].main_peaking, channel[_ch].aux_status);
  }else{
	  if (channel[_ch].main_rdy_usealt) voice = channel[_ch].alt_voice; else voice = channel[_ch].main_voice;
	  volume = channel[_ch].main_rdy_volume;
	  length = channel[_ch].main_rdy_length;
	  sprintf(buffer_out, ">>MAIN %d: voice %X (alt:%d), vol %d (%u/4096) t=%u; AUX = %d\n",_ch,
			  voice, channel[_ch].alt_voice, volume, channel[_ch].main_rdy_height,
			  length, channel[_ch].aux_status);
  }
  HAL_UART_Transmit(&huart2,(uint8_t *)buffer_out, strlen((char const*)buffer_out) , 5);
#endif

  HAL_GPIO_TogglePin(LD2_GPIO_Port, LD2_Pin);

}

// READ Diginal state of aux channels
void getAuxState (GPIO_PinState *_state){
	_state[0] = HAL_GPIO_ReadPin(DIG_IN1_GPIO_Port, DIG_IN1_Pin);
	_state[1] = HAL_GPIO_ReadPin(DIG_IN2_GPIO_Port, DIG_IN2_Pin);
	_state[2] = HAL_GPIO_ReadPin(DIG_IN3_GPIO_Port, DIG_IN3_Pin);
	_state[3] = HAL_GPIO_ReadPin(DIG_IN4_GPIO_Port, DIG_IN4_Pin);

	_state[4] = HAL_GPIO_ReadPin(DIG_IN5_GPIO_Port, DIG_IN5_Pin);
	_state[5] = HAL_GPIO_ReadPin(DIG_IN6_GPIO_Port, DIG_IN6_Pin);
	_state[6] = HAL_GPIO_ReadPin(DIG_IN7_GPIO_Port, DIG_IN7_Pin);
	_state[7] = 0; //HAL_GPIO_ReadPin(DIG_IN8_GPIO_Port, DIG_IN8_Pin);

	_state[8] = HAL_GPIO_ReadPin(DIG_IN9_GPIO_Port, DIG_IN9_Pin);
	_state[9] = 0;
}

uint8_t Save_Setting(uint8_t _rst)
{
	uint32_t SavingBuff[64];
	uint8_t i;
	uint32_t error = 0;
	uint64_t val = 0;

	FLASH_EraseInitTypeDef FLASH_EraseInitStruct = {
	        .TypeErase = FLASH_TYPEERASE_PAGES,
			.Banks = FLASH_BANK_1,
	        .Page = 63,
			.NbPages = 1
	};

	for (i=0;i<64;i++)
			SavingBuff[i] = 0;
//112233445566778899 AABBCCDDEEFF
	if (_rst == 0)
		SavingBuff[0] = 0xC4C0FFEE; // load settings marker
	else
		SavingBuff[0] = 0xFFFFFFFF; // do not load marker
	SavingBuff[1] = 0xBB;

	// 0x11223344
	for (i = 1; i < 10; i++){
		// channel configuration settings
		SavingBuff[2*i    ]  = (channel[i-1].main_voice & 0xFF)*0x01000000;
		SavingBuff[2*i    ] += (channel[i-1].aux_voice  & 0xFF)*0x00010000;
		SavingBuff[2*i    ] += (channel[i-1].alt_voice  & 0xFF)*0x00000100;
		SavingBuff[2*i    ] += (channel[i-1].chnl_type   & 0xFF);
		// channel parameter settings
		SavingBuff[2*i + 1]  = (channel[i-1].peak_volume_norm 	& 0xFF)*0x01000000;
		SavingBuff[2*i + 1] += (channel[i-1].peak_min_length 	& 0xFF)*0x00010000;
		SavingBuff[2*i + 1] += (channel[i-1].peak_max_length  	& 0xFF)*0x00000100;
//		SavingBuff[2*i + 1] += (channel[i-1].peak2peak  & 0xFF);
	}

	HAL_StatusTypeDef err;
	uint8_t st = 0;
	err = HAL_FLASH_Unlock();
	if (err != HAL_OK)
		st += 0b10000000;
	__HAL_FLASH_CLEAR_FLAG(FLASH_FLAG_EOP | FLASH_FLAG_OPERR | FLASH_FLAG_WRPERR | FLASH_FLAG_PGAERR  | FLASH_FLAG_PGSERR);

	err = HAL_FLASHEx_Erase(&FLASH_EraseInitStruct, &error);
	if (err != HAL_OK)
		st += 0b01000000;

	for (i=0;i<32;i++)
	{
		val = (((uint64_t)SavingBuff[i*2+1])<<32) + SavingBuff[i*2];
		if (HAL_FLASH_Program(FLASH_TYPEPROGRAM_DOUBLEWORD, FLASH_USER_START_ADDR + 8*i, val) != HAL_OK) st += 1;
	}
	if ( HAL_FLASH_Lock() != HAL_OK ) st += 0b00100000;

	for (i=0;i<64;i++)	saved_config[0] = 0;

	return st;
}

uint8_t Load_Setting()
{
	uint8_t i;
//	uint32_t LoadingBuff[64];

	for (i=0;i<64;i++){
		saved_config[i] = *(userConfig+i);
	}

	if (saved_config[0] != 0xC4C0FFEE) return 0;

	for (i = 1; i < 10; i++){
		channel[i-1].main_voice = 0xff & (uint8_t)(saved_config[2*i]>>24);
		channel[i-1].aux_voice 	= 0xff & (uint8_t)(saved_config[2*i]>>16);
		channel[i-1].alt_voice 	= 0xff & (uint8_t)(saved_config[2*i]>>8);
		channel[i-1].chnl_type 	= 0xff & (uint8_t)(saved_config[2*i]);

		//		channel[i-1].peak_threshold 	= 0xff & (uint8_t)(saved_config[2*i+1]>>24);
		channel[i-1].peak_volume_norm 	= 0xff & (uint8_t)(saved_config[2*i+1]>>24);
		channel[i-1].peak_min_length 	= 0xff & (uint8_t)(saved_config[2*i+1]>>16);
		channel[i-1].peak_max_length 	= 0xff & (uint8_t)(saved_config[2*i+1]>>8);
//		channel[i-1].time_between_peaks = 0xff & (uint8_t)(saved_config[2*i+1]);
	}

	sprintf(buffer_out, "........ Previous settings: .......\n%08lX %08lX %08lX %08lX\n%08lX %08lX %08lX %08lX\n%08lX %08lX %08lX %08lX\n%08lX %08lX %08lX %08lX\n%08lX %08lX %08lX %08lX\n",
	  saved_config[0] ,saved_config[1] ,saved_config[2] ,saved_config[3] ,
	  saved_config[4] ,saved_config[5] ,saved_config[6] ,saved_config[7] ,
	  saved_config[8] ,saved_config[9] ,saved_config[10],saved_config[11],
	  saved_config[12],saved_config[13],saved_config[14],saved_config[15],
	  saved_config[16],saved_config[17],saved_config[18],saved_config[19]);

	  HAL_UART_Transmit(&huart2,(uint8_t *)buffer_out, strlen((char const*)buffer_out) , 50);
	  HAL_Delay(500);

	return 1;
}

//receive number from serial or a given max length
int get_num_from_uart(uint8_t _len){
	uint8_t i;
	int val = 0;
	for (i = 0; i<_len+1; i++)
		buffer_in[i] = 0;

	HAL_UART_Receive_IT (&huart2, &buffer_in[0], _len);
	while (buffer_in[0] == 0) {HAL_Delay(1);};
	HAL_Delay(2); // wait for the rest of the message

	val = 0;
	for (i = 0; i<_len; i++){
		if ((buffer_in[i] == 0) || (buffer_in[i] == 10) || (buffer_in[i] == 13)) break;
		if ((buffer_in[0]>='0') && (buffer_in[0]<='9'))
			val = val*10 + (buffer_in[i]-'0');
		else{
			val = -1;
			break;
		}
	}
	HAL_UART_AbortReceive(&huart2);
	return val;
}

uint8_t UART_CFG(){

	int val = 0;

	uint8_t rtrn = 0;

	sprintf(buffer_out, "\nConfig mode.\nType number of the pad [1..9], or hit the drum (x - reset to default):\n");
	HAL_UART_Transmit(&huart2,(uint8_t *)buffer_out, strlen((char const*)buffer_out) , 50);

	buffer_in[0] = 0;
	HAL_UART_Receive_IT (&huart2, &buffer_in[0], 1);

	uint8_t chnl = 10;
	while (chnl == 10){
		  for (uint8_t ch = 0; ch<9; ch++)
			  if ((channel[ch].main_rdy)||(channel[ch].aux_rdy)){
				  channel[ch].main_rdy = 0;
				  channel[ch].aux_rdy = 0;
				  chnl = ch;
				  HAL_UART_AbortReceive(&huart2);
			  }
		  if (buffer_in[0]>0){
			  if ((buffer_in[0]>='1') && (buffer_in[0]<='9'))
				  chnl = buffer_in[0]-'1';
			  else
				  chnl = 255;

			  if (buffer_in[0]=='x')
				  return 99;
		  }
	}

	if (chnl == 255) {
		HAL_UART_AbortReceive(&huart2);
		sprintf(buffer_out, "Ciao\n");
		HAL_UART_Transmit(&huart2,(uint8_t *)buffer_out, strlen((char const*)buffer_out) , 50);
		config_Mode[0] = 0;
		HAL_UART_Receive_IT (&huart2, &config_Mode[0], 1);
		return 0;
	}

	// got the correct channel.
	// print current values
	sprintf(buffer_out, "Current values CH#%d:\n\tVoices: main %d, aux %d, alt %d\n\tTimings: peak min %d max %d\n\tChannel type: %d,volume norm %d\n",
			chnl+1, channel[chnl].main_voice, channel[chnl].aux_voice, channel[chnl].alt_voice,
			(int)channel[chnl].peak_min_length, (int)channel[chnl].peak_max_length,
			channel[chnl].aux_type, (int)channel[chnl].peak_volume_norm);
	HAL_UART_Transmit(&huart2,(uint8_t *)buffer_out, strlen((char const*)buffer_out) , 50);
	HAL_Delay(200);

	// Starting to change the values
	// main voicepeak_volume_norm
	sprintf(buffer_out, "\nCH#%d Change main voice from %d:\t",chnl+1, channel[chnl].main_voice);
	HAL_UART_Transmit(&huart2,(uint8_t *)buffer_out, strlen((char const*)buffer_out) , 50);
	HAL_Delay(200);

	 val = get_num_from_uart(2);
	if ((val>25)&&(val<90)){
		channel[chnl].main_voice = val & 0xFF;
		sprintf(buffer_out, "New main voice: %d\n", channel[chnl].main_voice);
	}else
		sprintf(buffer_out, "Keeping the old value: %d\n", channel[chnl].main_voice);
	HAL_UART_Transmit(&huart2,(uint8_t *)buffer_out, strlen((char const*)buffer_out) , 50);
	HAL_Delay(200);

	// aux voice
	sprintf(buffer_out, "\nCH#%d Change aux input voice from %d:\t",chnl+1, channel[chnl].aux_voice);
	HAL_UART_Transmit(&huart2,(uint8_t *)buffer_out, strlen((char const*)buffer_out) , 50);
	HAL_Delay(200);

	 val = get_num_from_uart(2);
	if ((val>25)&&(val<90)){
		channel[chnl].aux_voice = val & 0xFF;
		sprintf(buffer_out, "New aux voice: %d\n", channel[chnl].aux_voice);
	}else
		sprintf(buffer_out, "Keeping the old value: %d\n", channel[chnl].aux_voice);
	HAL_UART_Transmit(&huart2,(uint8_t *)buffer_out, strlen((char const*)buffer_out) , 50);
	HAL_Delay(200);

	// main alt voice
	sprintf(buffer_out, "\nCH#%d Change main alt voice (when pedal pressed) from %d:\t",chnl+1, channel[chnl].alt_voice);
	HAL_UART_Transmit(&huart2,(uint8_t *)buffer_out, strlen((char const*)buffer_out) , 50);
	HAL_Delay(200);

	 val = get_num_from_uart(2);
	if ((val>25)&&(val<90)){
		channel[chnl].alt_voice = val & 0xFF;
		sprintf(buffer_out, "New alt voice: %d\n", channel[chnl].alt_voice);
	}else
		sprintf(buffer_out, "Keeping the old value: %d\n", channel[chnl].alt_voice);
	HAL_UART_Transmit(&huart2,(uint8_t *)buffer_out, strlen((char const*)buffer_out) , 50);
	HAL_Delay(200);

	// channel type
	sprintf(buffer_out, "\nCH#%d Change aux type from %d to:\n\tAUX - auto, MAIN - Mesh(0), Mesh with rim(1), or Cymbal(2),\n\t HiHat(3) with pedal, Cymbal with 2 zones(4), Cymabal with mute button(5)\n", chnl+1,  channel[chnl].chnl_type);
	HAL_UART_Transmit(&huart2,(uint8_t *)buffer_out, strlen((char const*)buffer_out) , 50);
	HAL_Delay(200);

	val = get_num_from_uart(1);
	if ((val>=0)&&(val<=4)){
		channel[chnl].chnl_type = val & 0xFF;
		sprintf(buffer_out, "New channel type: %d\n", channel[chnl].chnl_type);
	}else
		sprintf(buffer_out, "Keeping the old value: %d\n", channel[chnl].chnl_type);
	HAL_UART_Transmit(&huart2,(uint8_t *)buffer_out, strlen((char const*)buffer_out) , 50);
	HAL_Delay(200);

	rtrn = 1;
	sprintf(buffer_out, "\nAdjust timing? y - yes, n - save settings and exit\n");
	HAL_UART_Transmit(&huart2,(uint8_t *)buffer_out, strlen((char const*)buffer_out) , 50);
	HAL_Delay(200);

	buffer_in[0] = 0;
	HAL_UART_Receive_IT (&huart2, &buffer_in[0], 1);
	while (buffer_in[0] == 0){HAL_Delay(1);}
	if (buffer_in[0] == 'y'){

		// Peak threshold
		sprintf(buffer_out, "\nCH#%d Volume norm = %d (default 50, 0..255) (full volume point, 100~4096). New:\t",chnl+1,(int) channel[chnl].peak_volume_norm);
		HAL_UART_Transmit(&huart2,(uint8_t *)buffer_out, strlen((char const*)buffer_out) , 50);
		HAL_Delay(200);

		val = get_num_from_uart(3);
		if ((val>0)&&(val<256)){
			channel[chnl].peak_volume_norm = val;
			sprintf(buffer_out, "New threshold = %d\n", (int)channel[chnl].peak_volume_norm);
		}else
			sprintf(buffer_out, "Keeping the old value: %d\n", (int)channel[chnl].peak_volume_norm);
		HAL_UART_Transmit(&huart2,(uint8_t *)buffer_out, strlen((char const*)buffer_out) , 50);
		HAL_Delay(200);

		// min peak len
		sprintf(buffer_out, "\nCH#%d Peak min length = %d (default mesh 15, cymbal 4, 1..99) [x0.1ms]. New:\t",chnl+1,(int) channel[chnl].peak_min_length);
		HAL_UART_Transmit(&huart2,(uint8_t *)buffer_out, strlen((char const*)buffer_out) , 50);
		HAL_Delay(200);

		val = get_num_from_uart(2);
		if ((val>0)&&(val<100)){
			channel[chnl].peak_min_length = val;
			sprintf(buffer_out, "New min length = %d\n", (int)channel[chnl].peak_min_length);
		}else
			sprintf(buffer_out, "Keeping the old value: %d\n", (int)channel[chnl].peak_min_length);
		HAL_UART_Transmit(&huart2,(uint8_t *)buffer_out, strlen((char const*)buffer_out) , 50);
		HAL_Delay(200);

		// max peak len
		sprintf(buffer_out, "\nCH#%d Peak max length = %d (default 200, 1..255) [x0.1ms]. New:\t",chnl+1, (int)channel[chnl].peak_max_length);
		HAL_UART_Transmit(&huart2,(uint8_t *)buffer_out, strlen((char const*)buffer_out) , 50);
		HAL_Delay(200);

		val = get_num_from_uart(3);
		if ((val>0)&&(val<256)){
			channel[chnl].peak_max_length = val;
			sprintf(buffer_out, "New max length = %d\n", (int)channel[chnl].peak_max_length);
		}else
			sprintf(buffer_out, "Keeping the old value: %d\n", (int)channel[chnl].peak_max_length);
		HAL_UART_Transmit(&huart2,(uint8_t *)buffer_out, strlen((char const*)buffer_out) , 50);
		HAL_Delay(200);
		rtrn = 2;
	}
	return rtrn;
}

/* USER CODE END 4 */

void Error_Handler(void)
{
  __disable_irq();
  while (1)
  {
  }
}
